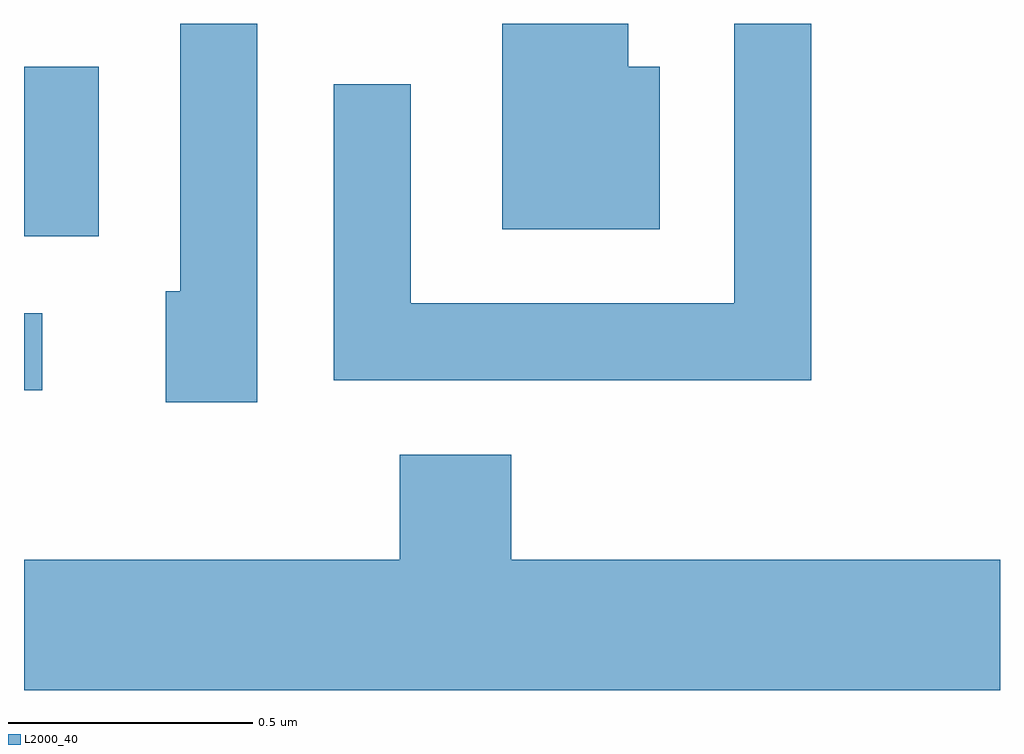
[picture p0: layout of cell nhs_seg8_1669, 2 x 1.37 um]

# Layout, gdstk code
import gdstk
lib = gdstk.Library(unit=1e-6, precision=1e-09)
def R(c, l, rs):  # rectangles x0, y0, x1, y1
    for r in rs: c.add(gdstk.rectangle(r[:2], r[2:], *l))
def P(c, l, *ps):  # polygons
    for p in ps: c.add(gdstk.Polygon(p, *l))
L2000_40 = (2000, 40)

nhs_seg8_1669 = lib.new_cell('nhs_seg8_1669')
R(nhs_seg8_1669, L2000_40, [(197.611,1832.591,197.648,1832.749), (197.611,1832.906,197.764,1833.254)])
P(nhs_seg8_1669, L2000_40, [(198.089,1833.342),(197.931,1833.342),(197.931,1832.794),(197.901,1832.794),(197.901,1832.566),(198.089,1832.566)],
  [(198.914,1833.254),(198.849,1833.254),(198.849,1833.342),(198.591,1833.342),(198.591,1832.921),(198.914,1832.921)],
  [(199.224,1833.342),(199.066,1833.342),(199.066,1832.769),(198.404,1832.769),(198.404,1833.218),(198.246,1833.218),(198.246,1832.611),(199.224,1832.611)],
  [(199.611,1832.244),(198.609,1832.244),(198.609,1832.459),(198.381,1832.459),(198.381,1832.244),(197.611,1832.244),(197.611,1831.976),(199.611,1831.976)])

lib.write_gds('nhs_seg8_1669.gds')
